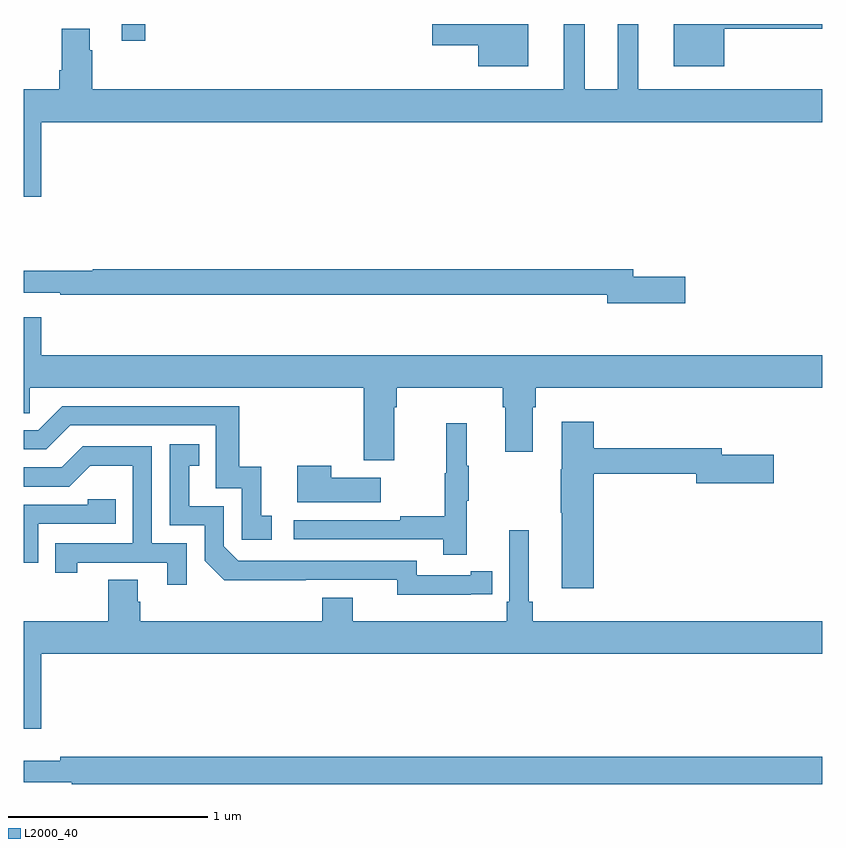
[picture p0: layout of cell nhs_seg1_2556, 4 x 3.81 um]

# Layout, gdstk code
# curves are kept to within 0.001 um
import gdstk
lib = gdstk.Library(unit=1e-6, precision=1e-09)
def R(c, l, rs):  # rectangles x0, y0, x1, y1
    for r in rs: c.add(gdstk.rectangle(r[:2], r[2:], *l))
def P(c, l, *ps):  # polygons
    for p in ps: c.add(gdstk.Polygon(p, *l))
L2000_40 = (2000, 40)

nhs_seg1_2556 = lib.new_cell('nhs_seg1_2556')
R(nhs_seg1_2556, L2000_40, [(249.491,576.114,249.608,576.199)])
P(nhs_seg1_2556, L2000_40, [(249.088,575.708),(253,575.708),(253,575.872),(252.079,575.872),(252.079,576.199),(251.975,576.199),(251.975,575.872),(251.809,575.872),(251.809,576.199),(251.705,576.199),(251.705,575.872),(249.344,575.872),(249.344,576.068),(249.331,576.068),(249.331,576.176),(249.191,576.176),(249.191,575.968),(249.179,575.968),(249.179,575.872),(249,575.872),(249,575.334),(249.088,575.334)],
  [(252.508,576.174),(253,576.174),(253,576.199),(252.257,576.199),(252.257,575.987),(252.508,575.987)],
  [(251.527,576.199),(251.046,576.199),(251.046,576.092),(251.276,576.092),(251.276,575.987),(251.527,575.987)],
  [(252.313,574.934),(252.052,574.934),(252.052,574.97),(249.345,574.97),(249.345,574.963),(249,574.963),(249,574.854),(249.184,574.854),(249.184,574.842),(251.924,574.842),(251.924,574.799),(252.313,574.799)],
  [(250.855,574.28),(250.868,574.28),(250.868,574.376),(251.399,574.376),(251.399,574.28),(251.411,574.28),(251.411,574.056),(251.551,574.056),(251.551,574.28),(251.564,574.28),(251.564,574.376),(253,574.376),(253,574.54),(249.088,574.54),(249.088,574.729),(249,574.729),(249,574.249),(249.03,574.249),(249.03,574.376),(250.703,574.376),(250.703,574.014),(250.855,574.014)],
  [(250.243,573.735),(250.19,573.735),(250.19,573.982),(250.079,573.982),(250.079,574.284),(249.192,574.284),(249.072,574.164),(249,574.164),(249,574.068),(249.114,574.068),(249.234,574.188),(249.963,574.188),(249.963,573.873),(250.092,573.873),(250.092,573.615),(250.243,573.615)],
  [(251.855,573.946),(252.368,573.946),(252.368,573.899),(252.757,573.899),(252.757,574.041),(252.496,574.041),(252.496,574.075),(251.855,574.075),(251.855,574.207),(251.696,574.207),(251.696,573.969),(251.689,573.969),(251.689,573.751),(251.696,573.751),(251.696,573.372),(251.855,573.372)],
  [(251.219,573.811),(251.23,573.811),(251.23,573.985),(251.219,573.985),(251.219,574.198),(251.116,574.198),(251.116,573.948),(251.109,573.948),(251.109,573.734),(250.885,573.734),(250.885,573.714),(250.353,573.714),(250.353,573.618),(251.101,573.618),(251.101,573.54),(251.219,573.54)],
  [(251.24,573.342),(251.348,573.342),(251.348,573.458),(251.24,573.458),(251.24,573.438),(250.968,573.438),(250.968,573.51),(250.074,573.51),(250.002,573.582),(250.002,573.783),(249.829,573.783),(249.829,573.987),(249.878,573.987),(249.878,574.093),(249.732,574.093),(249.732,573.687),(249.906,573.687),(249.906,573.51),(250.004,573.413),(250.872,573.414),(250.872,573.341)],
  [(249.816,573.597),(249.642,573.597),(249.642,574.083),(249.296,574.083),(249.191,573.978),(249,573.978),(249,573.882),(249.228,573.882),(249.332,573.986),(249.546,573.986),(249.546,573.597),(249.157,573.597),(249.157,573.45),(249.268,573.45),(249.268,573.501),(249.719,573.501),(249.719,573.39),(249.816,573.39)],
  [(250.789,573.925),(250.541,573.925),(250.541,573.985),(250.37,573.985),(250.37,573.803),(250.789,573.803)],
  [(249.072,573.696),(249.461,573.696),(249.461,573.819),(249.321,573.819),(249.321,573.792),(249,573.792),(249,573.501),(249.072,573.501)],
  [(249.088,573.044),(253,573.044),(253,573.208),(251.549,573.208),(251.549,573.304),(251.53,573.304),(251.53,573.664),(251.433,573.664),(251.433,573.304),(251.42,573.304),(251.42,573.208),(250.648,573.208),(250.648,573.325),(250.496,573.325),(250.496,573.208),(249.584,573.208),(249.584,573.306),(249.571,573.306),(249.571,573.416),(249.424,573.416),(249.424,573.208),(249,573.208),(249,572.67),(249.088,572.67)],
  [(253,572.528),(249.184,572.528),(249.184,572.509),(249,572.509),(249,572.4),(249.24,572.4),(249.24,572.392),(253,572.392)])

lib.write_gds('nhs_seg1_2556.gds')
